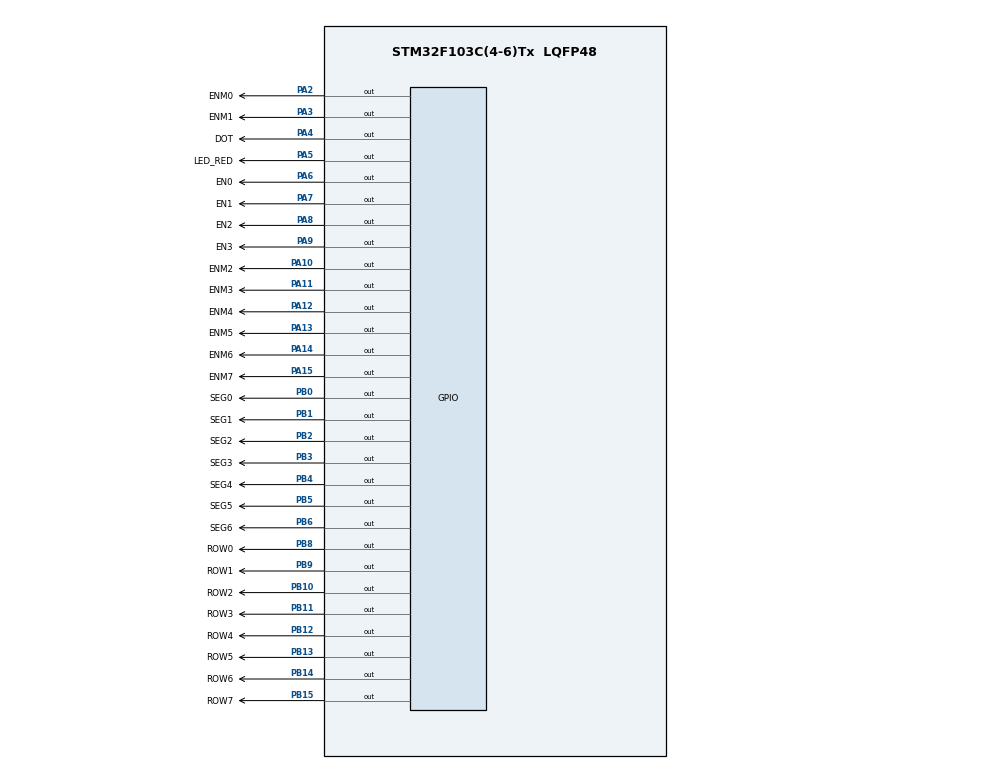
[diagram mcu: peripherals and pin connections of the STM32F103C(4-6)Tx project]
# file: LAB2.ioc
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Mcu.Family=STM32F1
Mcu.Name=STM32F103C(4-6)Tx
Mcu.Package=LQFP48
NVIC.PriorityGroup=NVIC_PRIORITYGROUP_4
NVIC.TIM2_IRQn=true\:0\:0\:false\:false\:true\:true\:true\:true
PA10.GPIO_Label=ENM2
PA10.Signal=GPIO_Output
PA11.GPIO_Label=ENM3
PA11.Signal=GPIO_Output
PA12.GPIO_Label=ENM4
PA12.Signal=GPIO_Output
PA13.GPIO_Label=ENM5
PA13.Signal=GPIO_Output
PA14.GPIO_Label=ENM6
PA14.Signal=GPIO_Output
PA15.GPIO_Label=ENM7
PA15.Signal=GPIO_Output
PA2.GPIO_Label=ENM0
PA2.Signal=GPIO_Output
PA3.GPIO_Label=ENM1
PA3.Signal=GPIO_Output
PA4.GPIO_Label=DOT
PA4.Signal=GPIO_Output
PA5.GPIO_Label=LED_RED
PA5.Signal=GPIO_Output
PA6.GPIO_Label=EN0
PA6.Signal=GPIO_Output
PA7.GPIO_Label=EN1
PA7.Signal=GPIO_Output
PA8.GPIO_Label=EN2
PA8.Signal=GPIO_Output
PA9.GPIO_Label=EN3
PA9.Signal=GPIO_Output
PB0.GPIO_Label=SEG0
PB0.Signal=GPIO_Output
PB1.GPIO_Label=SEG1
PB1.Signal=GPIO_Output
PB10.GPIO_Label=ROW2
PB10.Signal=GPIO_Output
PB11.GPIO_Label=ROW3
PB11.Signal=GPIO_Output
PB12.GPIO_Label=ROW4
PB12.Signal=GPIO_Output
PB13.GPIO_Label=ROW5
PB13.Signal=GPIO_Output
PB14.GPIO_Label=ROW6
PB14.Signal=GPIO_Output
PB15.GPIO_Label=ROW7
PB15.Signal=GPIO_Output
PB2.GPIO_Label=SEG2
PB2.Signal=GPIO_Output
PB3.GPIO_Label=SEG3
PB3.Signal=GPIO_Output
PB4.GPIO_Label=SEG4
PB4.Signal=GPIO_Output
PB5.GPIO_Label=SEG5
PB5.Signal=GPIO_Output
PB6.GPIO_Label=SEG6
PB6.Signal=GPIO_Output
PB8.GPIO_Label=ROW0
PB8.Signal=GPIO_Output
PB9.GPIO_Label=ROW1
PB9.Signal=GPIO_Output
ProjectManager.HeapSize=0x200
ProjectManager.StackSize=0x400
ProjectManager.TargetToolchain=STM32CubeIDE
RCC.APB1Freq_Value=8000000
RCC.APB2Freq_Value=8000000
TIM2.Period=9
TIM2.Prescaler=7999
VP_SYS_VS_ND.Mode=No_Debug
VP_TIM2_VS_ClockSourceINT.Mode=Internal
board=custom

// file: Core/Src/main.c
/* USER CODE BEGIN Header */
/**
  ******************************************************************************
  * @file           : main.c
  * @brief          : Main program body
  ******************************************************************************
  * @attention
  *
  * Copyright (c) 2024 STMicroelectronics.
  * All rights reserved.
  *
  * This software is licensed under terms that can be found in the LICENSE file
  * in the root directory of this software component.
  * If no LICENSE file comes with this software, it is provided AS-IS.
  *
  ******************************************************************************
  */
/* USER CODE END Header */
#include "main.h"

/* USER CODE BEGIN Includes */
#include "software_timer.h"
/* USER CODE END Includes */

TIM_HandleTypeDef htim2;

void SystemClock_Config(void);
static void MX_GPIO_Init(void);
static void MX_TIM2_Init(void);

/* USER CODE BEGIN 0 */
void display7SEG(int num)
{
	switch (num)
	{
		case 0:
			GPIOB->ODR = 0b1000000; // GFEDCBA
			break;
		case 1:
			GPIOB->ODR = 0b1111001; // GFEDCBA
			break;
		case 2:
			GPIOB->ODR = 0b0100100; // GFEDCBA
			break;
		case 3:
			GPIOB->ODR = 0b0110000; // GFEDCBA
			break;
		case 4:
			GPIOB->ODR = 0b0011001; // GFEDCBA
			break;
		case 5:
			GPIOB->ODR = 0b0010010; // GFEDCBA
			break;
		case 6:
			GPIOB->ODR = 0b0000010; // GFEDCBA
			break;
		case 7:
			GPIOB->ODR = 0b1111000; // GFEDCBA
			break;
		case 8:
			GPIOB->ODR = 0b0000000; // GFEDCBA
			break;
		case 9:
			GPIOB->ODR = 0b0010000; // GFEDCBA
			break;
		default:
			break;
	}
}

const int MAX_LED = 4;
int index_led = 0;
int led_buffer[4] = {1, 9, 0 ,4};
void update7SEG(int index)
{
	HAL_GPIO_WritePin(EN0_GPIO_Port, EN0_Pin, GPIO_PIN_SET);
	HAL_GPIO_WritePin(EN1_GPIO_Port, EN1_Pin, GPIO_PIN_SET);
	HAL_GPIO_WritePin(EN2_GPIO_Port, EN2_Pin, GPIO_PIN_SET);
	HAL_GPIO_WritePin(EN3_GPIO_Port, EN3_Pin, GPIO_PIN_SET);
	switch (index)
	{
		case 0:
			// Display the first 7 SEG with led_buffer [0]
			HAL_GPIO_WritePin(EN0_GPIO_Port, EN0_Pin, GPIO_PIN_RESET);
			display7SEG(led_buffer[0]);
			break;
		case 1:
			// Display the second 7 SEG with led_buffer [1]
			HAL_GPIO_WritePin(EN1_GPIO_Port, EN1_Pin, GPIO_PIN_RESET);
			display7SEG(led_buffer[1]);
			break;
		case 2:
			// Display the third 7 SEG with led_buffer [2]
			HAL_GPIO_WritePin(EN2_GPIO_Port, EN2_Pin, GPIO_PIN_RESET);
			display7SEG(led_buffer[2]);
			break;
		case 3:
			// Display the forth 7 SEG with led_buffer [3]
			HAL_GPIO_WritePin(EN3_GPIO_Port, EN3_Pin, GPIO_PIN_RESET);
			display7SEG(led_buffer[3]);
			break;
		default:
			break;
	}
}

int hour = 15, minute = 8, second = 58;
void updateClockBuffer()
{
    second++;
	if (second >= 60)
	{
		second = 0;
		minute++;
	}
	if (minute >= 60)
	{
		minute = 0;
		hour++;
	}
	if (hour >= 24)
	{
		hour = 0;
	}
	led_buffer[0] = hour / 10;
	led_buffer[1] = hour % 10;
	led_buffer[2] = minute / 10;
	led_buffer[3] = minute % 10;
}
/* USER CODE END 0 */

int main(void)
{

  /* MCU Configuration--------------------------------------------------------*/

  /* Reset of all peripherals, Initializes the Flash interface and the Systick. */
  HAL_Init();

  /* Configure the system clock */
  SystemClock_Config();

  /* Initialize all configured peripherals */
  MX_GPIO_Init();
  MX_TIM2_Init();
  /* USER CODE BEGIN 2 */
  HAL_TIM_Base_Start_IT(&htim2);
  HAL_GPIO_WritePin(EN0_GPIO_Port, EN0_Pin, GPIO_PIN_SET);
  HAL_GPIO_WritePin(EN1_GPIO_Port, EN1_Pin, GPIO_PIN_SET);
  HAL_GPIO_WritePin(EN2_GPIO_Port, EN2_Pin, GPIO_PIN_SET);
  HAL_GPIO_WritePin(EN3_GPIO_Port, EN3_Pin, GPIO_PIN_SET);

  setTimer(0, 10);	// I want the precision
  setTimer(1, 10);
  setTimer(2, 10);
  /* USER CODE END 2 */

  /* Infinite loop */
  /* USER CODE BEGIN WHILE */
  while (1)
  {
	  if (getTimerFlag(0) == 1)
	  {
		  setTimer(0, 250);
		  update7SEG(index_led);
		  index_led = (++index_led < MAX_LED) ? index_led : 0;
	  }
	  if (getTimerFlag(1) == 1)
	  {
		  setTimer(1, 1000);
		  HAL_GPIO_TogglePin(DOT_GPIO_Port, DOT_Pin);
	  }
	  if (getTimerFlag(2) == 1)
	  {
		  setTimer(2, 1000);
		  updateClockBuffer();
	  }
    /* USER CODE END WHILE */

  }
}

void SystemClock_Config(void)
{
  RCC_OscInitTypeDef RCC_OscInitStruct = {0};
  RCC_ClkInitTypeDef RCC_ClkInitStruct = {0};

  /** Initializes the RCC Oscillators according to the specified parameters
  * in the RCC_OscInitTypeDef structure.
  */
  RCC_OscInitStruct.OscillatorType = RCC_OSCILLATORTYPE_HSI;
  RCC_OscInitStruct.HSIState = RCC_HSI_ON;
  RCC_OscInitStruct.HSICalibrationValue = RCC_HSICALIBRATION_DEFAULT;
  RCC_OscInitStruct.PLL.PLLState = RCC_PLL_NONE;
  if (HAL_RCC_OscConfig(&RCC_OscInitStruct) != HAL_OK)
  {
    Error_Handler();
  }

  /** Initializes the CPU, AHB and APB buses clocks
  */
  RCC_ClkInitStruct.ClockType = RCC_CLOCKTYPE_HCLK|RCC_CLOCKTYPE_SYSCLK
                              |RCC_CLOCKTYPE_PCLK1|RCC_CLOCKTYPE_PCLK2;
  RCC_ClkInitStruct.SYSCLKSource = RCC_SYSCLKSOURCE_HSI;
  RCC_ClkInitStruct.AHBCLKDivider = RCC_SYSCLK_DIV1;
  RCC_ClkInitStruct.APB1CLKDivider = RCC_HCLK_DIV1;
  RCC_ClkInitStruct.APB2CLKDivider = RCC_HCLK_DIV1;

  if (HAL_RCC_ClockConfig(&RCC_ClkInitStruct, FLASH_LATENCY_0) != HAL_OK)
  {
    Error_Handler();
  }
}

static void MX_TIM2_Init(void)
{

  TIM_ClockConfigTypeDef sClockSourceConfig = {0};
  TIM_MasterConfigTypeDef sMasterConfig = {0};

  htim2.Instance = TIM2;
  htim2.Init.Prescaler = 7999;
  htim2.Init.CounterMode = TIM_COUNTERMODE_UP;
  htim2.Init.Period = 9;
  htim2.Init.ClockDivision = TIM_CLOCKDIVISION_DIV1;
  htim2.Init.AutoReloadPreload = TIM_AUTORELOAD_PRELOAD_DISABLE;
  if (HAL_TIM_Base_Init(&htim2) != HAL_OK)
  {
    Error_Handler();
  }
  sClockSourceConfig.ClockSource = TIM_CLOCKSOURCE_INTERNAL;
  if (HAL_TIM_ConfigClockSource(&htim2, &sClockSourceConfig) != HAL_OK)
  {
    Error_Handler();
  }
  sMasterConfig.MasterOutputTrigger = TIM_TRGO_RESET;
  sMasterConfig.MasterSlaveMode = TIM_MASTERSLAVEMODE_DISABLE;
  if (HAL_TIMEx_MasterConfigSynchronization(&htim2, &sMasterConfig) != HAL_OK)
  {
    Error_Handler();
  }

}

static void MX_GPIO_Init(void)
{
  GPIO_InitTypeDef GPIO_InitStruct = {0};

  /* GPIO Ports Clock Enable */
  __HAL_RCC_GPIOA_CLK_ENABLE();
  __HAL_RCC_GPIOB_CLK_ENABLE();

  /*Configure GPIO pin Output Level */
  HAL_GPIO_WritePin(GPIOA, DOT_Pin|LED_RED_Pin|EN0_Pin|EN1_Pin
                          |EN2_Pin|EN3_Pin, GPIO_PIN_RESET);

  /*Configure GPIO pin Output Level */
  HAL_GPIO_WritePin(GPIOB, SEG0_Pin|SEG1_Pin|SEG2_Pin|SEG3_Pin
                          |SEG4_Pin|SEG5_Pin|SEG6_Pin, GPIO_PIN_RESET);

  /*Configure GPIO pins : DOT_Pin LED_RED_Pin EN0_Pin EN1_Pin
                           EN2_Pin EN3_Pin */
  GPIO_InitStruct.Pin = DOT_Pin|LED_RED_Pin|EN0_Pin|EN1_Pin
                          |EN2_Pin|EN3_Pin;
  GPIO_InitStruct.Mode = GPIO_MODE_OUTPUT_PP;
  GPIO_InitStruct.Pull = GPIO_NOPULL;
  GPIO_InitStruct.Speed = GPIO_SPEED_FREQ_LOW;
  HAL_GPIO_Init(GPIOA, &GPIO_InitStruct);

  /*Configure GPIO pins : SEG0_Pin SEG1_Pin SEG2_Pin SEG3_Pin
                           SEG4_Pin SEG5_Pin SEG6_Pin */
  GPIO_InitStruct.Pin = SEG0_Pin|SEG1_Pin|SEG2_Pin|SEG3_Pin
                          |SEG4_Pin|SEG5_Pin|SEG6_Pin;
  GPIO_InitStruct.Mode = GPIO_MODE_OUTPUT_PP;
  GPIO_InitStruct.Pull = GPIO_NOPULL;
  GPIO_InitStruct.Speed = GPIO_SPEED_FREQ_LOW;
  HAL_GPIO_Init(GPIOB, &GPIO_InitStruct);

}

/* USER CODE BEGIN 4 */
void HAL_TIM_PeriodElapsedCallback(TIM_HandleTypeDef *htim)
{
	timerRun();
}
/* USER CODE END 4 */

void Error_Handler(void)
{
  __disable_irq();
  while (1)
  {
  }
}
